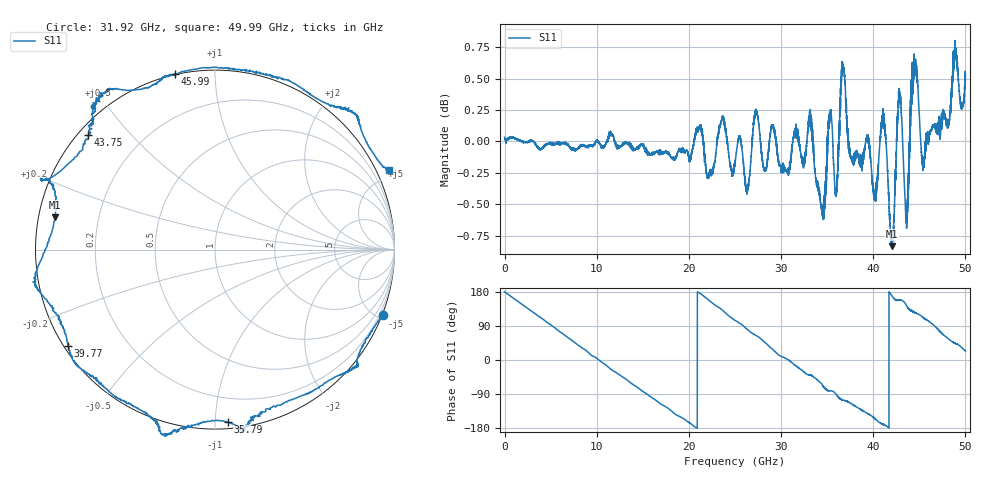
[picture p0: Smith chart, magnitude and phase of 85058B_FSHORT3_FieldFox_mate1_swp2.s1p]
!Created with skrf (http://scikit-rf.org).
# Hz S RI R 50.0
!freq ReS11 ImS11
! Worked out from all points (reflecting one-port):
!   10000 points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, 5.3 MHz to 50 GHz, reference 50 ohm
!   lowest |S11| = -0.8 dB at 42.05 GHz (marker M1), VSWR 20.82, Z = 2.43 + j5.02 ohm
!   phase of S11 starts at 180 deg and turns -876 deg over the sweep
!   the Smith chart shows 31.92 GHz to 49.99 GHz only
!   S11 on the Smith chart (normalised r, x): 31.92 GHz: -0.02, -5.35; 35.79 GHz: 0.04, -1.08; 39.77 GHz: 0.01, -0.30; 43.75 GHz: 0.03, +0.38; 45.99 GHz: -0.00, +0.80; 49.99 GHz: -0.70, +4.49
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5299970  -1.004 0.00185
3.35528e9  -0.5215 0.8505
6.255262e9  0.3379 0.9398
9.440243e9  0.9742 0.2076
1.250522e10  0.7668 -0.6341
1.548521e10  -0.0121 -0.9905
1.875519e10  -0.823 -0.5494
2.142017e10  -0.9997 0.1344
2.345016e10  -0.7206 0.717
2.500515e10  -0.2455 0.95
2.749014e10  0.4822 0.901
2.922012e10  0.9173 0.4254
3.125511e10  0.9877 -0.1519
3.191511e10  0.9338 -0.3619
3.33551e10  0.7595 -0.6709
3.579009e10  0.0727 -0.9611
3.750507e10  -0.3936 -0.9064
3.976506e10  -0.8177 -0.5378
4.106505e10  -1.001 -0.1842
4.205005e10  -0.8901 0.181
4.297504e10  -0.9614 0.3895
4.375004e10  -0.7086 0.6393
4.375504e10  -0.7069 0.6385
4.447003e10  -0.6239 0.8763
4.599002e10  -0.222 0.9782
4.755001e10  0.3862 0.9466
4.9985e10  0.9699 0.4431
5e10  0.971 0.4332
